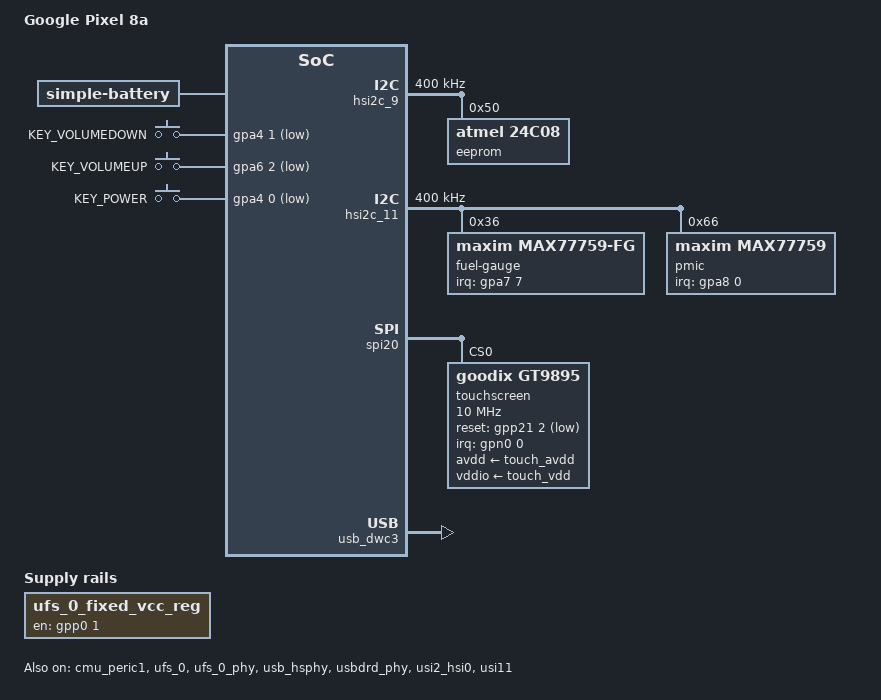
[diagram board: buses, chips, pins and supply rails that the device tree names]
// SPDX-License-Identifier: GPL-2.0-only
/*
 * Google Pixel 8a (akita) - first-light board file.
 */

/dts-v1/;

#include <dt-bindings/gpio/gpio.h>
#include <dt-bindings/input/input.h>
#include <dt-bindings/interrupt-controller/irq.h>
#include "zuma.dtsi"

/ {
	model = "Google Pixel 8a";
	compatible = "google,zuma-akita", "google,zuma";

	/*
	 * zuma's ABL picks the base DTB by matching these children against
	 * the SoC's product id, revision and package; there is no /soc_id.
	 * A retail akita has a B0/B1 IPOP part (stock base DTB 3, which
	 * carries exactly these two), where husky's is FOPLP.
	 */
	soc_compatible {
		B0_IPOP {
			product_id = <0x9865>;
			major = <1>;
			minor = <0>;
			pkg_mode = <1>;
		};

		B1_IPOP {
			product_id = <0x9865>;
			major = <1>;
			minor = <1>;
			pkg_mode = <1>;
		};
	};

	/*
	 * UFS VCC, switched by gpp0-1 as on stock, and as on the Pixel 8 Pro.
	 * ABL hands over with it off, so the UFS driver must turn it on.
	 */
	ufs_0_fixed_vcc_reg: regulator-ufs-vcc {
		compatible = "regulator-fixed";
		regulator-name = "ufs-vcc";
		gpio = <&gpp0 1 GPIO_ACTIVE_HIGH>;
		enable-active-high;
	};

	/*
	 * The pack, for the fuel gauge and the charger cell. 4486 mAh is the
	 * design capacity the stock phone's gauge reports
	 * (charge_full_design); Google's charger node names 4404 mAh. The
	 * charge limits are deliberately below stock's 4.48 V
	 * (google,fv-max-uv): 4.2 V and about 0.3 C, as on the Pixel 8 Pro,
	 * until a review raises them.
	 */
	battery: battery {
		compatible = "simple-battery";
		charge-full-design-microamp-hours = <4486000>;
		voltage-max-design-microvolt = <4480000>;
		voltage-min-design-microvolt = <3300000>;
		constant-charge-voltage-max-microvolt = <4200000>;
		constant-charge-current-max-microamp = <1320000>;
	};

	chosen {
		/*
		 * ABL requires bootargs to exist; it appends its own after these.
		 * reboot=warm: a cold PSCI reset clears the reboot reason in
		 * SYSIP_DAT0 before ABL reads it, so "reboot bootloader" would
		 * only boot the slot again.
		 * The watchdog driver stops the bootloader's watchdogs, so a
		 * hang that never panics lasts until someone resets the phone
		 * with its buttons: panic on soft and hard lockups and on RCU
		 * stalls, so that panic=10 resets the phone by itself.
		 * mem_sleep_default=s2idle: the firmware offers PSCI system
		 * suspend, so "mem" would otherwise mean "deep", which needs a
		 * PMU sleep sequence the kernel doesn't have yet.
		 */
		bootargs = "console=tty0 fbcon=font:TER16x32 reboot=warm panic=10 softlockup_panic=1 nmi_watchdog=panic sysctl.kernel.panic_on_rcu_stall=1 clk_ignore_unused pd_ignore_unused rdinit=/init mem_sleep_default=s2idle";
		#address-cells = <2>;
		#size-cells = <1>;
		ranges;

		/*
		 * ABL's splash, still scanned out at handover: DPP0's
		 * RDMA_BASEADDR_P0 (0x19900040) reads 0xfac00000 on a booted
		 * phone, as on the Pixel 8 Pro. The panel is DSI command mode,
		 * so new frames reach it only once DECON0's trigger is unmasked.
		 */
		framebuffer0: framebuffer {
			compatible = "simple-framebuffer";
			memory-region = <&cont_splash_mem>;
			width = <1080>;
			height = <2400>;
			stride = <(1080 * 4)>;
			format = "a8r8g8b8";
			panel = <&panel0>;
		};
	};

	gpio-keys {
		compatible = "gpio-keys";
		pinctrl-0 = <&key_voldown>, <&key_volup>, <&key_power>;
		pinctrl-names = "default";

		button-vol-down {
			label = "KEY_VOLUMEDOWN";
			linux,code = <KEY_VOLUMEDOWN>;
			gpios = <&gpa4 1 GPIO_ACTIVE_LOW>;
			wakeup-source;
		};

		button-vol-up {
			label = "KEY_VOLUMEUP";
			linux,code = <KEY_VOLUMEUP>;
			gpios = <&gpa6 2 GPIO_ACTIVE_LOW>;
			wakeup-source;
		};

		button-power {
			label = "KEY_POWER";
			linux,code = <KEY_POWER>;
			gpios = <&gpa4 0 GPIO_ACTIVE_LOW>;
			wakeup-source;
		};
	};

	/*
	 * Without a panel node simpledrm estimates the display's physical
	 * size from its pixels at 96 dpi: 285x635 mm instead of 64x141 mm,
	 * which sizes everything that works in millimetres (the on-screen
	 * keyboard) wrongly. simpledrm only reads width-mm and height-mm from
	 * this node. It stays disabled so that fw_devlink does not make the
	 * framebuffer wait for a driver this node will never have. 64x141 mm
	 * is the lit area, measured with a ruler on a Pixel 8a, as for a
	 * 6.1-inch 20:9 panel; Google's touch node has panel-height-mm = 141.
	 * Stock's figure is larger than the glass: Google's panel-google-ak3b.c
	 * gives the ak3b 70x149 mm, and the stock phone's DPI follows from it
	 * (xDpi 391.885, yDpi 409.127 for 1080x2400).
	 */
	panel0: panel {
		status = "disabled";
		width-mm = <64>;
		height-mm = <141>;
	};

	reserved-memory {
		#address-cells = <2>;
		#size-cells = <1>;
		ranges;

		cont_splash_mem: splash@fac00000 {
			reg = <0x0 0xfac00000 (1080 * 2400 * 4)>;
			no-map;
		};
	};
};

/*
 * The main PMIC, behind the ACPM firmware. Its regulators are described
 * with their consumers, which run them through the firmware. The touch
 * controller's avdd is 3.0 V here (the stock phone's LDO4M), not the
 * Pixel 8 Pro's 3.3 V.
 */
&acpm_ipc {
	pmic-1 {
		compatible = "samsung,s2mpg14-pmic";

		regulators {
			touch_avdd: ldo4m {
				regulator-name = "touch-avdd";
				regulator-min-microvolt = <3000000>;
				regulator-max-microvolt = <3000000>;
			};

			touch_vdd: ldo25m {
				regulator-name = "touch-vdd";
				regulator-min-microvolt = <1800000>;
				regulator-max-microvolt = <1800000>;
			};
		};
	};
};

&cmu_peric1 {
	status = "okay";
};

/*
 * The battery pack's EEPROM, as on the Pixel 8 Pro: an at,24c08 at 0x50
 * (Google's zuma-akita-battery.dtsi, pack_bee). Byte 0x17 is the battery
 * ID that picks the fuel gauge's model. Read-only; the bus stays off
 * here and a bring-up overlay switches USI9 and hsi2c_9 on.
 */
&hsi2c_9 {
	clock-frequency = <400000>;

	eeprom@50 {
		compatible = "atmel,24c08";
		reg = <0x50>;
		pagesize = <16>;
		read-only;
	};
};

/*
 * The MAX77759's fuel gauge (0x36) and PMIC (0x66, which also holds the
 * charger at 0x69), as on the Pixel 8 Pro (Google's
 * zuma-akita-battery.dtsi: the same addresses, interrupts gpa7-7 and
 * gpa8-0, and a 5 mOhm sense resistor). The bus pins are pulled up, as
 * the stock phone's live device tree has them. The Type-C controller at
 * 0x25 isn't described yet.
 */
&hsi2c_11 {
	clock-frequency = <400000>;
	status = "okay";

	fuel-gauge@36 {
		compatible = "maxim,max77759-fg";
		reg = <0x36>;
		interrupts-extended = <&gpa7 7 IRQ_TYPE_LEVEL_LOW>;
		pinctrl-0 = <&if_pmic_fg_int>;
		pinctrl-names = "default";
		shunt-resistor-micro-ohms = <5000>;
		monitored-battery = <&battery>;
	};

	pmic@66 {
		compatible = "maxim,max77759";
		reg = <0x66>;
		interrupts-extended = <&gpa8 0 IRQ_TYPE_LEVEL_LOW>;
		pinctrl-0 = <&if_pmic_int>;
		pinctrl-names = "default";
		interrupt-controller;
		#interrupt-cells = <2>;
		/* for the charger cell */
		monitored-battery = <&battery>;

		gpio {
			compatible = "maxim,max77759-gpio";
			gpio-controller;
			#gpio-cells = <2>;
			interrupt-controller;
			#interrupt-cells = <2>;
		};
	};
};

&spi20 {
	status = "okay";

	/*
	 * Goodix GT9895 (Berlin), the Pixel 7a's controller: both of stock's
	 * firmware files (goodix_firmware_ak3a.bin and _ak3b.bin) say "9895".
	 * Wired as zuma-husky's touchscreen: 10 MHz, interrupt on gpn0-0
	 * (falling edge, stock's goodix,irq-flags = 2), reset on gpp21-2.
	 * avdd is LDO4M at 3.0 V and vddio LDO25M at 1.8 V, as on stock.
	 */
	touchscreen@0 {
		compatible = "goodix,gt9895";
		reg = <0>;
		spi-max-frequency = <10000000>;
		interrupt-parent = <&gpn0>;
		interrupts = <0 IRQ_TYPE_EDGE_FALLING>;
		reset-gpios = <&gpp21 2 GPIO_ACTIVE_LOW>;
		avdd-supply = <&touch_avdd>;
		vddio-supply = <&touch_vdd>;
		touchscreen-size-x = <1080>;
		touchscreen-size-y = <2400>;
		pinctrl-names = "default";
		pinctrl-0 = <&ts_irq &ts_reset>;
	};
};

&sysreg_peric1 {
	status = "okay";
};

/*
 * Behind the init's storage guard (only slot B's boot images and userdata
 * writable), which sets every partition read-only before anything mounts
 * them.
 */
&ufs_0 {
	vcc-supply = <&ufs_0_fixed_vcc_reg>;
	status = "okay";
};

&ufs_0_phy {
	status = "okay";
};

&usb_dwc3 {
	status = "okay";
};

&usb_hsphy {
	status = "okay";
};

&usbdrd_phy {
	status = "okay";
};

&usi2_hsi0 {
	status = "okay";
};

&usi11 {
	status = "okay";
};
